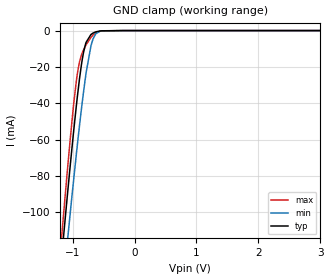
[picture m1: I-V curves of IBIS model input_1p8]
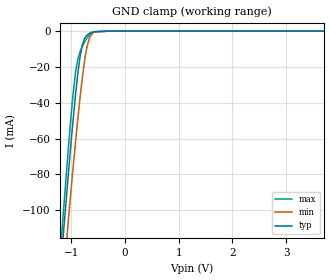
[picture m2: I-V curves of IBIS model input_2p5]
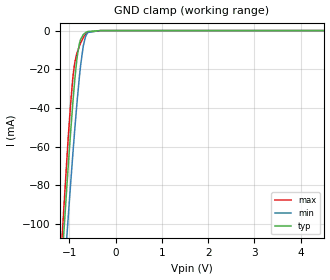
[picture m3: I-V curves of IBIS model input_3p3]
|Texas Instruments Incorporated
| Low-Voltage 16-Bit I2C and SMBus I/O Expander
| Marketing part#   Digital Voltage Range   Package-type   #pins
| TCA6416APWR   1.65V-5.5V   TSSOP   24
| TCA6416ARTWR   1.65V-5.5V   WQFN   24
| TCA6416AZQSR   1.65V-5.5V   BGA   24
[IBIS Ver]   4.1
[File name]   tca6416a.ibs
[File Rev]   1.0
[Date]   12/23/2013
[Source]
| Texas Instruments Incorporated.
| Analog-eLab Design Center, HPA
| 12500 TI Blvd
| Dallas, TX -75243
[Notes]   Revision History:
| Rev 1.0: 12/23/2013
| - Initial version of the model
| - Model generated from simulations in TISPICE
| - Model matched to SPICE simulation
| - C_comp although listed in numerical order of value are
|   obtained from varying PVT conditions. For PVT conditions for
|   each specific value refer the buffer description under
|   respective [Model]. IBIS model user is responsible for using
|   appropriate C_comp to simulate for Signal Integrity.
[Disclaimer]
| This model is designed as an aid for customers of Texas Instruments.
| TI and its licensors and suppliers make no warranties, either expressed
| or implied, with respect to this  model, including the warranties of
| merchantability or fitness for a particular purpose. The model is
| provided solely on an "as is" basis. The entire risk as to its quality
| and performance is with the customer.
[Copyright]
(C) Copyright 2013 Texas Instruments Incorporated.All rights reserved.
|   TCA6416APW
[Component]   TCA6416APW
[Manufacturer]   TI
[Package]   |24 TSSOP  -  PW package
|   typ   min   max
R_pkg   0.20716   0.19077   0.22303
L_pkg   3.76094nH   3.19947nH   4.72312nH
C_pkg   0.53022pF   0.44606pF   0.67012pF
[Pin]  signal_name   model_name   R_pin   L_pin   C_pin
1   _INT   INTZ   0.20135   4.72312nH  0.67012pF
2   VCCI   POWER   0.21458   4.36123nH  0.65447pF
3   _RESET   INPUT   0.22029   3.95185nH  0.54980pF
4   P00   PXX_IO   0.21405   3.60054nH  0.48617pF
5   P01   PXX_IO   0.20116   3.35061nH  0.47725pF
6   P02   PXX_IO   0.19088   3.20190nH  0.44606pF
7   P03   PXX_IO   0.19192   3.21057nH  0.44690pF
8   P04   PXX_IO   0.20400   3.37784nH  0.47895pF
9   P05   PXX_IO   0.21832   3.64143nH  0.48879pF
10   P06   PXX_IO   0.21396   3.90217nH  0.54619pF
11   P07   PXX_IO   0.21043   4.33334nH  0.64925pF
12   GND   GND   0.19831   4.70955nH  0.66503pF
13   P10   PXX_IO   0.19951   4.71262nH  0.66780pF
14   P11   PXX_IO   0.21038   4.32965nH  0.65176pF
15   P12   PXX_IO   0.21403   3.90145nH  0.54677pF
16   P13   PXX_IO   0.21879   3.64564nH  0.48855pF
17   P14   PXX_IO   0.20433   3.38059nH  0.47881pF
18   P15   PXX_IO   0.19205   3.21249nH  0.44672pF
19   P16   PXX_IO   0.19077   3.19947nH  0.44642pF
20   P17   PXX_IO   0.20087   3.34803nH  0.47741pF
21   ADDR   INPUT   0.21366   3.59693nH  0.48601pF
22   SCL   SCL   0.22303   3.97717nH  0.55027pF
23   SDA   SDA   0.21662   4.38235nH  0.65453pF
24   VCCP   POWER   0.20258   4.74164nH  0.67021pF
|   TCA6416ARTW
[Component]   TCA6416ARTW
[Manufacturer]   TI
[Package]   |24 WQFN   -  RTW package
|   typ   min   max
R_pkg   0.09173   0.08205   0.10182
L_pkg   1.76429nH   1.56717nH   1.97153nH
C_pkg   0.19798pF   0.19001pF   0.20614pF
[Pin]  signal_name   model_name   R_pin   L_pin   C_pin
1   P00   PXX_IO   0.10011   1.94054nH  0.19752pF
2   P01   PXX_IO   0.09096   1.75083nH  0.20463pF
3   P02   PXX_IO   0.08623   1.65557nH  0.19785pF
4   P03   PXX_IO   0.08660   1.66287nH  0.19838pF
5   P04   PXX_IO   0.09199   1.77154nH  0.20614pF
6   P05   PXX_IO   0.10165   1.97153nH  0.19980pF
7   P06   PXX_IO   0.09520   1.84044nH  0.19099pF
8   P07   PXX_IO   0.08627   1.65454nH  0.19619pF
9   GND   GND   0.08108   1.54897nH  0.18698pF
10   P10   PXX_IO   0.08205   1.56717nH  0.19001pF
11   P11   PXX_IO   0.08626   1.65073nH  0.19794pF
12   P12   PXX_IO   0.09522   1.83542nH  0.19100pF
13   P13   PXX_IO   0.10182   1.96713nH  0.19972pF
14   P14   PXX_IO   0.09211   1.76534nH  0.20602pF
15   P15   PXX_IO   0.08664   1.65457nH  0.19814pF
16   P16   PXX_IO   0.08620   1.64567nH  0.19748pF
17   P17   PXX_IO   0.09085   1.73994nH  0.20417pF
18   ADDR   INPUT   0.09997   1.92973nH  0.19672pF
19   SCL   SCL   0.09834   1.89793nH  0.19530pF
20   SDA   SDA   0.08822   1.68964nH  0.20175pF
21   VCCP   POWER   0.08258   1.57737nH  0.19363pF
22   _INT   INTZ   0.08234   1.57417nH  0.19334pF
23   VCCI   POWER   0.08757   1.68064nH  0.20097pF
24   _RESET   INPUT   0.09739   1.88483nH  0.19450pF
|   TCA6416AZQS
[Component]   TCA6416AZQS
[Manufacturer]   TI
[Package]   |24 BGA   -  ZQS package
|   typ   min   max
R_pkg   0.0701957   0.06257   0.08086
L_pkg   1.860565nH   1.53806nH   2.75206nH
C_pkg   0.264719pF   0.18871pF   0.36015pF
[Pin]  signal_name   model_name   R_pin   L_pin   C_pin
A1   P00   PXX_IO   0.07819   1.85045nH  0.24934pF
A2   _RESET   INPUT   0.06381   1.56741nH  0.25286pF
A3   _INT   INTZ   0.06257   1.53806nH  0.26256pF
A4   SDA   SDA   0.06559   1.59716nH  0.25612pF
A5   SCL   SCL   0.07844   1.75759nH  0.23854pF
B1   P02   PXX_IO   0.07013   1.67981nH  0.27115pF
B3   VCCI   POWER   0.06498   2.05625nH  0.28651pF
B4   VCCP   POWER   0.06554   1.83112nH  0.16291pF
B5   ADDR   INPUT   0.06738   1.61908nH  0.26442pF
C1   P03   PXX_IO   0.06638   1.61078nH  0.26508pF
C2   P04   PXX_IO   0.06908   2.13261nH  0.28931pF
C3   P01   PXX_IO   0.07677   2.75206nH  0.36015pF
C4   P17   PXX_IO   0.06881   2.11767nH  0.29249pF
C5   P16   PXX_IO   0.06655   1.60524nH  0.26483pF
D1   P05   PXX_IO   0.06801   1.64015nH  0.26576pF
D2   P07   PXX_IO   0.07114   2.32442nH  0.28005pF
D3   P12   PXX_IO   0.07085   2.54932nH  0.18871pF
D4   P14   PXX_IO   0.07731   2.43380nH  0.29259pF
D5   P15   PXX_IO   0.07130   1.70051nH  0.26690pF
E1   P06   PXX_IO   0.07398   1.67936nH  0.23456pF
E2   GND   GND   0.06580   1.60532nH  0.25385pF
E3   P10   PXX_IO   0.06286   1.54400nH  0.25382pF
E4   P11   PXX_IO   0.06410   1.56325nH  0.26084pF
E5   P13   PXX_IO   0.08086   1.80914nH  0.24902pF
|   Model Selectors
[Model Selector] INPUT
input_1p8   1.8V  digital input
input_2p5   2.5V  digital input
input_3p3   3.3V  digital input
input_5p0   5.0V  digital input
[Model Selector] SCL
scl_1p8   1.8V  digital input
scl_2p5   2.5V  digital input
scl_3p3   3.3V  digital input
scl_5p0   5.0V  digital input
[Model Selector] PXX_IO
pxx_io_1p8   1.8V  digital I/O
pxx_io_2p5   2.5V  digital I/O
pxx_io_3p3   3.3V  digital I/O
pxx_io_5p0   5.0V  digital I/O
[Model Selector] INTZ
intz_1p8   1.8V  digital Open_drain
intz_2p5   2.5V  digital Open_drain
intz_3p3   3.3V  digital Open_drain
intz_5p0   5.0V  digital Open_drain
[Model Selector] SDA
sda_1p8   1.8V  digital I/O_open_drain
sda_2p5   2.5V  digital I/O_open_drain
sda_3p3   3.3V  digital I/O_open_drain
sda_5p0   5.0V  digital I/O_open_drain
| Models and submodels in the file (20): input_1p8 (Input), input_2p5 (Input), input_3p3 (Input), input_5p0 (Input), scl_1p8 (Input), scl_2p5 (Input), scl_3p3 (Input), scl_5p0 (Input), pxx_io_1p8 (I/O), pxx_io_2p5 (I/O), pxx_io_3p3 (I/O), pxx_io_5p0 (I/O), intz_1p8 (Open_drain), intz_2p5 (Open_drain), intz_3p3 (Open_drain), intz_5p0 (Open_drain), sda_1p8 (I/O_open_drain), sda_2p5 (I/O_open_drain), sda_3p3 (I/O_open_drain), sda_5p0 (I/O_open_drain)
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|   input_1p8 Model
[Model]   input_1p8
Model_type   Input
Vinl = 0.54
Vinh = 1.26
|   typ   min   max
|   (nom PVT)   (fast PVT)   (slow PVT)
C_comp   1.384e-12   1.346e-12   1.458e-12
[Model spec]
|subparameter
Vinl   0.54   0.486   0.594
Vinh   1.26   1.134   1.386
| Where nom  PVT is Nominal Process, 1.8V, 27C
|   Fast PVT is Strong Process,  1.98V, -40C
|   Slow PVT is Weak Process,   1.62V, 106C
[Voltage Range]   1.8   1.62   1.98
|Junction Temperature
[Temperature Range]   27   106   -40
[Power Clamp Reference]   1.8   1.62   1.98
[GND Clamp Reference]   0   0   0
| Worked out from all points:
|   GND clamp passes 1 mA (typ) near -0.64 V on its own axis
[GND Clamp]
|   Voltage   I(typ)   I(min)   I(max)
-1.8V     -376.1mA   -384.2mA   -385.1mA
-1.192V   -130.9mA   -154.3mA   -120.2mA
-1.16V    -118.8mA   -142.9mA   -107.2mA
-1.117V   -102.8mA   -127.7mA   -90.01mA
-1.082V   -90.02mA   -115.5mA   -76.38mA
-1.039V   -74.65mA   -100.8mA   -60.19mA
-974.3mV  -52.78mA   -79.45mA   -38.09mA
-887.2mV  -26.41mA   -52.11mA   -17.18mA
-788.4mV  -7.206mA   -24.97mA   -8.279mA
-669.4mV  -1.38mA    -4.575mA   -2.471mA
-525.1mV  -120.6uA   -170.2uA   -175.3uA
3.6V      0A         0A         0A
[POWER Clamp]
|   Voltage   I(typ)   I(min)   I(max)
-1.8V     0A         0A         0A
0V        0A         0A         0A
3.6V      0A         0A         0A
|   input_2p5 Model
[Model]   input_2p5
Model_type   Input
Vinl = 0.75
Vinh = 1.75
|   typ   min   max
|   (nom PVT)   (fast PVT)   (slow PVT)
C_comp   1.371e-12   1.322e-12   1.458e-12
[Model spec]
|subparameter
Vinl   0.75   0.675   0.825
Vinh   1.75   1.575   1.925
| Where nom  PVT is Nominal Process, 2.5V, 27C
|   Fast PVT is Strong Process,  2.75V, -40C
|   Slow PVT is Weak Process,   2.25V, 106C
[Voltage Range]   2.5   2.25   2.75
|Junction Temperature
[Temperature Range]   27   106   -40
[Power Clamp Reference]   2.5   2.25   2.75
[GND Clamp Reference]   0   0   0
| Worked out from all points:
|   GND clamp passes 1 mA (typ) near -0.64 V on its own axis
[GND Clamp]
|   Voltage   I(typ)   I(min)   I(max)
-2.5V     -676.2mA   -665.1mA   -706.8mA
-1.173V   -123.5mA   -147.3mA   -112.2mA
-1.137V   -110mA     -134.6mA   -97.77mA
-1.059V   -81.86mA   -107.7mA   -67.74mA
-973.8mV  -52.59mA   -79.26mA   -37.9mA
-925mV    -37.2mA    -63.69mA   -24.35mA
-832.5mV  -13.74mA   -36.37mA   -11.37mA
-742.5mV  -3.686mA   -14.93mA   -5.621mA
-660.3mV  -1.213mA   -3.809mA   -2.178mA
-562.7mV  -247.2uA   -410.7uA   -394uA
-250mV    -109.6nA   -305.6nA   -46.55nA
5V        0A         0A         0A
[POWER Clamp]
|   Voltage   I(typ)   I(min)   I(max)
-2.5V     0A         0A         0A
0V        0A         0A         0A
5V        0A         0A         0A
|   input_3p3 Model
[Model]   input_3p3
Model_type   Input
Vinl = 0.99
Vinh = 2.31
|   typ   min   max
|   (nom PVT)   (fast PVT)   (slow PVT)
C_comp   1.359e-12   1.304e-12   1.458e-12
[Model spec]
|subparameter
Vinl   0.99   0.9   1.08
Vinh   2.31   2.1   2.52
| Where nom  PVT is Nominal Process, 3.3V, 27C
|   Fast PVT is Strong Process,  3.6V, -40C
|   Slow PVT is Weak Process,   3V, 106C
[Voltage Range]   3.3   3   3.6
|Junction Temperature
[Temperature Range]   27   106   -40
[Power Clamp Reference]   3.3   3   3.6
[GND Clamp Reference]   0   0   0
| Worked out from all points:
|   GND clamp passes 1 mA (typ) near -0.65 V on its own axis
[GND Clamp]
|   Voltage   I(typ)   I(min)   I(max)
-3.3V     -1.028A    -995.4mA   -1.081A
-1.165V   -120.7mA   -144.7mA   -109.3mA
-1.036V   -73.6mA    -99.78mA   -59.1mA
-974.4mV  -52.8mA    -79.47mA   -38.1mA
-927.3mV  -37.9mA    -64.41mA   -24.89mA
-881.1mV  -24.79mA   -50.28mA   -16.32mA
-828mV    -12.91mA   -35.15mA   -11.02mA
-780mV    -6.35mA    -22.97mA   -7.755mA
-702mV    -2.143mA   -8.242mA   -3.701mA
-636mV    -848.7uA   -2.27mA    -1.516mA
-330mV    -1.205uA   -2.136uA   -944.2nA
6.6V      0A         0A         0A
[POWER Clamp]
|   Voltage   I(typ)   I(min)   I(max)
-3.3V     0A         0A         0A
0V        0A         0A         0A
6.6V      0A         0A         0A
